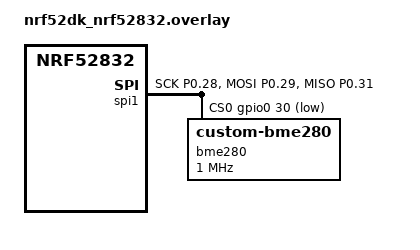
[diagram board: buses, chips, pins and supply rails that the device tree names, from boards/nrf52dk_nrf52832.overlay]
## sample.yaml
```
sample:
  description: nRF Connect SDK Intermediate Course by Nordic Developer Academy (https://academy.nordicsemi.com/)
  name: nRF Connect SDK Intermediate Course - Lesson 7 Exercise 2 Solution
  
common: 
    sysbuild: true
    integration_platforms: 
      - nrf52dk/nrf52832
      - nrf52833dk/nrf52833
      - nrf52840dk/nrf52840
      - nrf9160dk/nrf9160
      - nrf9160dk/nrf9160/ns
      - nrf9161dk/nrf9161
      - nrf9161dk/nrf9161/ns
      - nrf9151dk/nrf9151
      - nrf9151dk/nrf9151/ns
      - nrf5340dk/nrf5340/cpuapp
      - nrf5340dk/nrf5340/cpuapp/ns
      - nrf54l15dk/nrf54l15/cpuapp
      - nrf54lc10dk/nrf54lc10a/cpuapp
      - nrf54l15dk/nrf54l15/cpuapp/ns
      - nrf54ls05dk/nrf54ls05b/cpuapp
      - nrf54lm20dk/nrf54lm20a/cpuapp
      - nrf7002dk/nrf5340/cpuapp
      - nrf7002dk/nrf5340/cpuapp/ns
    platform_allow:
      - nrf52dk/nrf52832
      - nrf52833dk/nrf52833
      - nrf52840dk/nrf52840
      - nrf9160dk/nrf9160
      - nrf9160dk/nrf9160/ns
      - nrf9161dk/nrf9161
      - nrf9161dk/nrf9161/ns
      - nrf9151dk/nrf9151
      - nrf9151dk/nrf9151/ns
      - nrf5340dk/nrf5340/cpuapp
      - nrf5340dk/nrf5340/cpuapp/ns
      - nrf54l15dk/nrf54l15/cpuapp
      - nrf54lc10dk/nrf54lc10a/cpuapp
      - nrf54l15dk/nrf54l15/cpuapp/ns
      - nrf54ls05dk/nrf54ls05b/cpuapp
      - nrf54lm20dk/nrf54lm20a/cpuapp
      - nrf7002dk/nrf5340/cpuapp
      - nrf7002dk/nrf5340/cpuapp/ns   
    
tests:
  ncs_inter.l7.e2_sol:
    harness: console
    harness_config:
      type: one_line
      regex:
        - "Lesson 7 - Exercise 1 started"
    timeout: 15
```

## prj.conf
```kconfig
CONFIG_LOG=y

CONFIG_CBPRINTF_FP_SUPPORT=y
CONFIG_RESET_ON_FATAL_ERROR=n


CONFIG_GPIO=y
CONFIG_SENSOR=y
CONFIG_CUSTOM_BME280=y

# STEP 5 - Enable Power management
CONFIG_PM_DEVICE=y
CONFIG_PM_DEVICE_RUNTIME=y
```

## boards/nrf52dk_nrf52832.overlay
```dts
&i2c0 {	status = "disabled";};
&spi0 {	status = "disabled";};
&i2c1 {	status = "disabled";};
	
&spi1 {
    compatible = "nordic,nrf-spi"; //using SPI as per ERRATA 58
	status = "okay";
	pinctrl-0 = <&spi1_default>;
	pinctrl-1 = <&spi1_sleep>;
	pinctrl-names = "default", "sleep";
	cs-gpios = <&gpio0 30 GPIO_ACTIVE_LOW>;

	/* STEP 4.2 - enable device runtime pm for spi bus */
	zephyr,pm-device-runtime-auto;

	bme280: bme280@0 {
		compatible = "zephyr,custom-bme280";
		reg = <0>;
		spi-max-frequency = <1000000>; // 1MHz

		/* STEP 4.1 - enable device runtime pm for bme sensor */
		zephyr,pm-device-runtime-auto;
	};
};


&pinctrl {
	spi1_default: spi1_default {
		group1 {
				psels = <NRF_PSEL(SPIM_SCK, 0, 28)>,
						<NRF_PSEL(SPIM_MOSI, 0, 29)>,
						<NRF_PSEL(SPIM_MISO, 0, 31)>;
		};
	};

	spi1_sleep: spi1_sleep {
		group1 {
				psels = <NRF_PSEL(SPIM_SCK, 0, 28)>,
						<NRF_PSEL(SPIM_MOSI, 0, 29)>,
						<NRF_PSEL(SPIM_MISO, 0, 31)>;
				low-power-enable;
		};
	};
};
```

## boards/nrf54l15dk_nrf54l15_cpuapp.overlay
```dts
&spi21 {
    compatible = "nordic,nrf-spim";
	status = "okay";
	pinctrl-0 = <&spi21_default>;
	
	pinctrl-1 = <&spi21_sleep>;
	pinctrl-names = "default", "sleep";
	cs-gpios = <&gpio1 8 GPIO_ACTIVE_LOW>;

	/* STEP 4.2 - enable device runtime pm for spi bus */
	zephyr,pm-device-runtime-auto;

	bme280: bme280@0 {
		compatible = "zephyr,custom-bme280";
		reg = <0>;
		spi-max-frequency = <1000000>; // 1MHz

		/* STEP 4.1 - enable device runtime pm for bme sensor */
		zephyr,pm-device-runtime-auto;
	};
};


&pinctrl {
	spi21_default: spi21_default {
		group1 {
				psels = <NRF_PSEL(SPIM_SCK, 1, 11)>, 
						<NRF_PSEL(SPIM_MOSI, 1, 13)>,
						<NRF_PSEL(SPIM_MISO, 1, 14)>;
		};
	};

	spi21_sleep: spi21_sleep {
		group1 {
				psels = <NRF_PSEL(SPIM_SCK, 1, 11)>,
						<NRF_PSEL(SPIM_MOSI, 1, 13)>,
						<NRF_PSEL(SPIM_MISO, 1, 14)>;
				low-power-enable;
		};
	};
};
```

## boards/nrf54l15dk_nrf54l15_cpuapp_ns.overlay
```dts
&spi21 {
    compatible = "nordic,nrf-spim";
	status = "okay";
	pinctrl-0 = <&spi21_default>;
	pinctrl-1 = <&spi21_sleep>;
	pinctrl-names = "default", "sleep";
	cs-gpios = <&gpio1 8 GPIO_ACTIVE_LOW>;

	/* STEP 4.2 - enable device runtime pm for spi bus */
	zephyr,pm-device-runtime-auto;

	bme280: bme280@0 {
		compatible = "zephyr,custom-bme280";
		reg = <0>;
		spi-max-frequency = <1000000>; // 1MHz

		/* STEP 4.1 - enable device runtime pm for bme sensor */
		zephyr,pm-device-runtime-auto;
	};
};

&pinctrl {
	spi21_default: spi21_default {
		group1 {
				psels = <NRF_PSEL(SPIM_SCK, 1, 11)>,
						<NRF_PSEL(SPIM_MOSI, 1, 13)>,
						<NRF_PSEL(SPIM_MISO, 1, 14)>;
		};
	};

	spi21_sleep: spi21_sleep {
		group1 {
				psels = <NRF_PSEL(SPIM_SCK, 1, 11)>,
						<NRF_PSEL(SPIM_MOSI, 1, 13)>,
						<NRF_PSEL(SPIM_MISO, 1, 14)>;
				low-power-enable;
		};
	};
};
```

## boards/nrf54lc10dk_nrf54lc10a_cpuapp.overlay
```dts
&spi21 {
	compatible = "nordic,nrf-spim";
	status = "okay";
	pinctrl-0 = <&spi21_default>;
	pinctrl-1 = <&spi21_sleep>;
	pinctrl-names = "default", "sleep";
	cs-gpios = <&gpio1 8 GPIO_ACTIVE_LOW>;

	/* STEP 4.2 - enable device runtime pm for spi bus */
	zephyr,pm-device-runtime-auto;

	bme280: bme280@0 {
		compatible = "zephyr,custom-bme280";
		reg = <0>;
		spi-max-frequency = <1000000>; // 1MHz

		/* STEP 4.1 - enable device runtime pm for bme sensor */
		zephyr,pm-device-runtime-auto;
	};
};


&pinctrl {
	spi21_default: spi21_default {
		group1 {
			psels = <NRF_PSEL(SPIM_SCK, 1, 11)>,
			        <NRF_PSEL(SPIM_MOSI, 1, 13)>,
			        <NRF_PSEL(SPIM_MISO, 1, 12)>;
		};
	};

	spi21_sleep: spi21_sleep {
		group1 {
			psels = <NRF_PSEL(SPIM_SCK, 1, 11)>,
			        <NRF_PSEL(SPIM_MOSI, 1, 13)>,
			        <NRF_PSEL(SPIM_MISO, 1, 12)>;
			low-power-enable;
		};
	};
};
```

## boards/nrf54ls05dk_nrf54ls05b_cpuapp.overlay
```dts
&spi21 {
    compatible = "nordic,nrf-spim";
	status = "okay";
	pinctrl-0 = <&spi21_default>;
	pinctrl-1 = <&spi21_sleep>;
	pinctrl-names = "default", "sleep";
	cs-gpios = <&gpio1 8 GPIO_ACTIVE_LOW>;

	/* STEP 4.2 - enable device runtime pm for spi bus */
	zephyr,pm-device-runtime-auto;

	bme280: bme280@0 {
		compatible = "zephyr,custom-bme280";
		reg = <0>;
		spi-max-frequency = <1000000>; // 1MHz

		/* STEP 4.1 - enable device runtime pm for bme sensor */
		zephyr,pm-device-runtime-auto;
	};
};


&pinctrl {
	spi21_default: spi21_default {
		group1 {
				psels = <NRF_PSEL(SPIM_SCK, 1, 11)>, 
						<NRF_PSEL(SPIM_MOSI, 1, 13)>,
						<NRF_PSEL(SPIM_MISO, 1, 14)>;
		};
	};

	spi21_sleep: spi21_sleep {
		group1 {
				psels = <NRF_PSEL(SPIM_SCK, 1, 11)>,
						<NRF_PSEL(SPIM_MOSI, 1, 13)>,
						<NRF_PSEL(SPIM_MISO, 1, 14)>;
				low-power-enable;
		};
	};
};
```

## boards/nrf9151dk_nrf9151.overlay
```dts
&i2c0 {	status = "disabled";};
&spi0 {	status = "disabled";};
&i2c1 {	status = "disabled";};
&uart1 { status = "disabled";};
	
&spi1 {
    compatible = "nordic,nrf-spim";
	status = "okay";
	pinctrl-0 = <&spi1_default>;
	pinctrl-1 = <&spi1_sleep>;
	pinctrl-names = "default", "sleep";
	cs-gpios = <&gpio0 18 GPIO_ACTIVE_LOW>;

	/* STEP 4.2 - enable device runtime pm for spi bus */
	zephyr,pm-device-runtime-auto;

	bme280: bme280@0 {
		compatible = "zephyr,custom-bme280";
		reg = <0>;
		spi-max-frequency = <1000000>; // 1MHz

		/* STEP 4.1 - enable device runtime pm for bme sensor */
		zephyr,pm-device-runtime-auto;
	};
};

&pinctrl {
	spi1_default: spi1_default {
		group1 {
				psels = <NRF_PSEL(SPIM_SCK, 0, 16)>,
						<NRF_PSEL(SPIM_MOSI, 0, 17)>,
						<NRF_PSEL(SPIM_MISO, 0, 19)>;
		};
	};

	spi1_sleep: spi1_sleep {
		group1 {
				psels = <NRF_PSEL(SPIM_SCK, 0, 16)>,
						<NRF_PSEL(SPIM_MOSI, 0, 17)>,
						<NRF_PSEL(SPIM_MISO, 0, 19)>;
				low-power-enable;
		};
	};
};
```

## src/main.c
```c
/*
 * Copyright (c) 2021 Nordic Semiconductor ASA
 * SPDX-License-Identifier: Apache-2.0
 */

 #include <zephyr/kernel.h>
 #include <zephyr/drivers/sensor.h>
 #include <zephyr/logging/log.h>
 
 LOG_MODULE_REGISTER(Lesson7_Exercise1, LOG_LEVEL_INF);
 
 /* STEP 16 - Get the device structure from the node label */
 const struct device * dev = DEVICE_DT_GET(DT_NODELABEL(bme280));
 
 int main(void)
 {
     int err;
 
     LOG_INF("Lesson 7 - Exercise 1 started");
 
     /* STEP 17.1 - Define variables to store the temperature, pressure and humidity */
     struct sensor_value temp_val, press_val, hum_val;
 
     err = device_is_ready(dev);
     if (!err) {
         LOG_INF("Error: SPI device is not ready, err: %d", err);
         return 0;
     }
 
     while (1) {
         /* STEP 17.2 - Continuously read out sensor data using the sensor API calls */
         LOG_INF("Sample fetching...");
         err = sensor_sample_fetch(dev);
         if (err < 0) {
             LOG_ERR("Could not fetch sample (%d)", err);
             k_sleep(K_MSEC(5000));
             continue;
         }
 
         if (sensor_channel_get(dev, SENSOR_CHAN_AMBIENT_TEMP, &temp_val)) {
             LOG_ERR("Could not get sample");
             return 0;
         }
         
         if (sensor_channel_get(dev, SENSOR_CHAN_PRESS, &press_val)) {
             LOG_ERR("Could not get sample");
             return 0;
         }
     
         if (sensor_channel_get(dev, SENSOR_CHAN_HUMIDITY, &hum_val)) {
             LOG_ERR("Could not get sample");
             return 0;
         }
 
         LOG_INF("Compensated temperature value: %d", temp_val.val1);
         LOG_INF("Compensated pressure value: %d", press_val.val1);
         LOG_INF("Compensated humidity value: %d", hum_val.val1);
         
         k_sleep(K_MSEC(5000));
     }
     
     return 0;
 }
```
